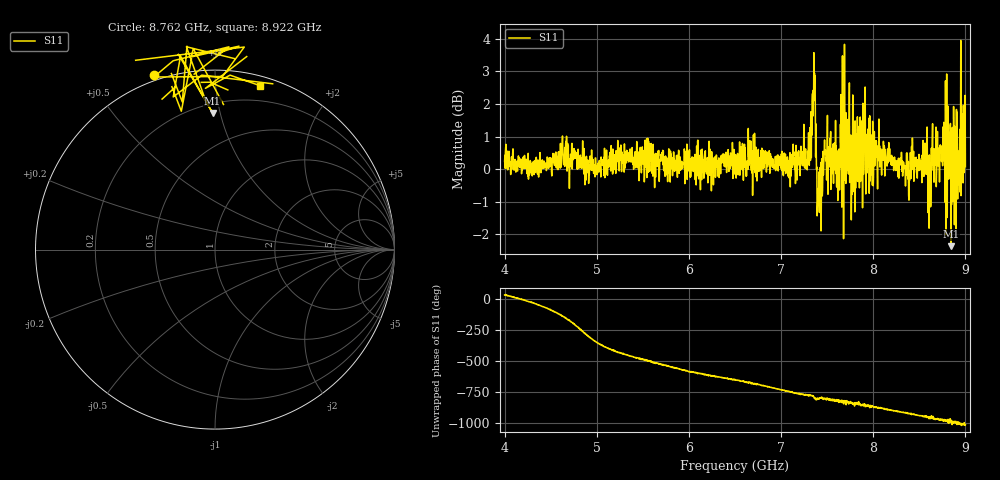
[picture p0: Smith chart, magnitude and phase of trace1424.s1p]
! Created with skrf 1.8.0 (http://scikit-rf.org).
# Hz S RI R 50.0
!freq ReS11 ImS11
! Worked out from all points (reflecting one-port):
!   1601 points, 4 GHz to 9 GHz, reference 50 ohm
!   lowest |S11| = -2.4 dB at 8.844 GHz (marker M1), VSWR 7.39, Z = 13.1 + j47.4 ohm
!   phase of S11 starts at 28 deg and turns -1037 deg over the sweep
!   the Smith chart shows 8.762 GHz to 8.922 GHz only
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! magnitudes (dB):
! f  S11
! 4 GHz  0.2
! 4.266 GHz  0.2
! 4.625 GHz  0.8
! 4.897 GHz  0.0
! 5.25 GHz  0.5
! 5.875 GHz  -0.3
! 6.5 GHz  0.1
! 7.125 GHz  0.3
! 7.294 GHz  0.2
! 7.347 GHz  1.8
! 7.362 GHz  3.0
! 7.397 GHz  -1.0
! 7.412 GHz  -0.1
! 7.478 GHz  0.6
! 7.619 GHz  0.5
! 7.669 GHz  1.8
! 7.75 GHz  0.1
! 7.784 GHz  -0.4
! 7.928 GHz  1.0
! 8.375 GHz  0.1
! 8.566 GHz  0.1
! 8.612 GHz  -0.3
! 8.656 GHz  0.6
! 8.75 GHz  0.6
! 8.822 GHz  0.2
! 8.844 GHz  -2.4
! 8.972 GHz  0.8
! 9 GHz  0.1
